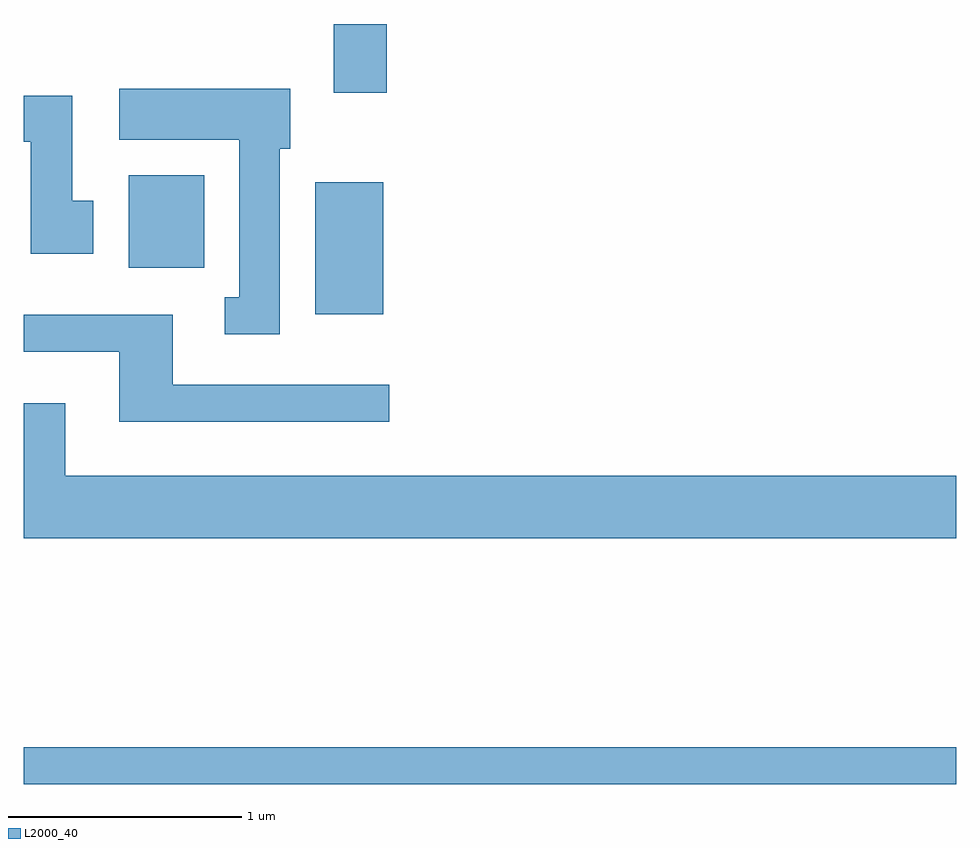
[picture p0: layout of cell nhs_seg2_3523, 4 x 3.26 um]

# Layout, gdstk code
import gdstk
lib = gdstk.Library(unit=1e-6, precision=1e-09)
def R(c, l, rs):  # rectangles x0, y0, x1, y1
    for r in rs: c.add(gdstk.rectangle(r[:2], r[2:], *l))
def P(c, l, *ps):  # polygons
    for p in ps: c.add(gdstk.Polygon(p, *l))
L2000_40 = (2000, 40)

nhs_seg2_3523 = lib.new_cell('nhs_seg2_3523')
R(nhs_seg2_3523, L2000_40, [(287.611,1100.541,291.611,1100.699), (288.861,1102.556,289.154,1103.124), (288.061,1102.756,288.384,1103.154), (288.941,1103.506,289.169,1103.802)])
P(nhs_seg2_3523, L2000_40, [(288.709,1103.266),(288.754,1103.266),(288.754,1103.524),(288.021,1103.524),(288.021,1103.306),(288.536,1103.306),(288.536,1102.629),(288.473,1102.629),(288.473,1102.471),(288.709,1102.471)],
  [(287.909,1103.044),(287.819,1103.044),(287.819,1103.494),(287.611,1103.494),(287.611,1103.296),(287.641,1103.296),(287.641,1102.816),(287.909,1102.816)],
  [(289.178,1102.254),(288.249,1102.254),(288.249,1102.554),(287.611,1102.554),(287.611,1102.396),(288.021,1102.396),(288.021,1102.096),(289.178,1102.096)],
  [(291.611,1101.864),(287.789,1101.864),(287.789,1102.174),(287.611,1102.174),(287.611,1101.596),(291.611,1101.596)])

lib.write_gds('nhs_seg2_3523.gds')
